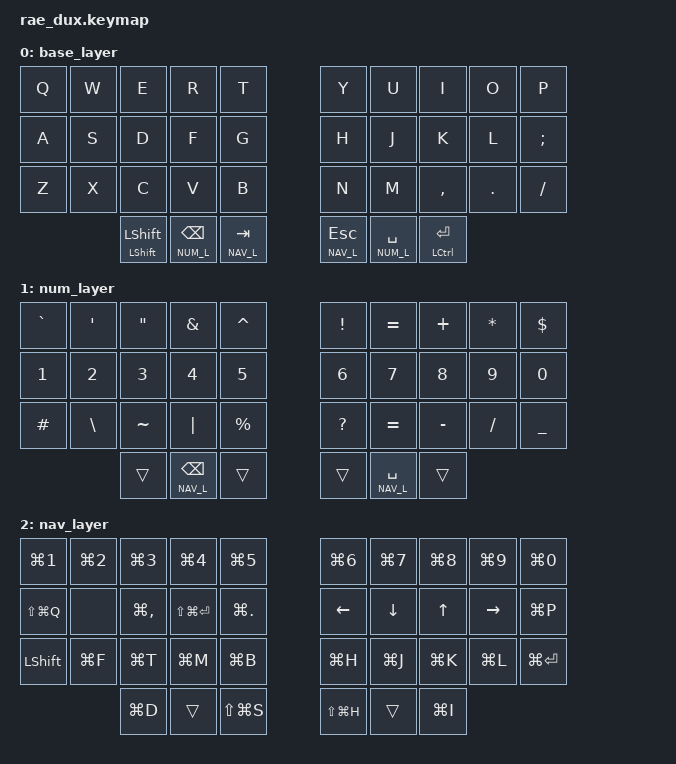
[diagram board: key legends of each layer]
/*
 * Copyright (c) 2021 The ZMK Contributors
 *
 * SPDX-License-Identifier: MIT
 */

#include <behaviors.dtsi>
#include <dt-bindings/zmk/bt.h>
#include <dt-bindings/zmk/keys.h>

&sk {
    quick-release;
};

&caps_word {
    continue-list = <UNDERSCORE MINUS BSPC>;
};

#define BASE_L  0
#define NUM_L   1
#define NAV_L   2

/ {
    combos {
        compatible = "zmk,combos";

        #define COMBO(NAME, BINDINGS, KEYPOS, TIMEOUT) \
              combo_##NAME { \
                timeout-ms = <TIMEOUT>; \
                bindings = <BINDINGS>; \
                key-positions = <KEYPOS>; \
              };

        /*                KEY POSITIONS

          ╭────────────────────╮ ╭────────────────────╮
          │  0   1   2   3   4 │ │  5   6   7   8   9 │
          │ 10  11  12  13  14 │ │ 15  16  17  18  19 │
          │ 20  21  22  23  24 │ │ 25  26  27  28  29 │
          ╰───────╮ 30  31  32 │ │ 33  34  35 ╭───────╯
                  ╰────────────╯ ╰────────────╯        */

        COMBO(caps_word_left, &caps_word, 13 14, 40)
        COMBO(caps_word_right, &caps_word, 15 16, 40)

		COMBO(escape_left, &kp ESC, 12 13, 40)
		COMBO(escape_right, &kp ESC, 16 17, 40)

		COMBO(round_bracket_open, &kp LPAR, 2 3, 40)
		COMBO(round_bracket_close, &kp RPAR, 6 7, 40)

		COMBO(curly_bracket_open, &kp LBRC, 3 4, 40)
		COMBO(curly_bracket_close, &kp RBRC, 5 6, 40)

		COMBO(square_bracket_open, &kp LBKT, 22 23, 40)
		COMBO(square_bracket_close, &kp RBKT, 26 27, 40)

		COMBO(angle_bracket_open, &kp LT, 23 24, 40)
		COMBO(angle_bracket_close, &kp GT, 25 26, 40)
		
		COMBO(at, &kp AT, 0 1, 40)
    };

    behaviors {
        lhm: left_hand_positional_hold_tap {
            compatible = "zmk,behavior-hold-tap";
            label = "LEFT_POSITIONAL_HOLD_TAP";
            #binding-cells = <2>;
            flavor = "tap-preferred";
            tapping-term-ms = <200>;
            quick-tap-ms = <200>;
            bindings = <&kp>, <&kp>;
            // hold-trigger-key-positions = <5 6 7 8 9 15 16 17 18 19 25 26 27 28 29 30 31 32 33 34 35>;
            hold-trigger-key-positions = <5 6 7 8 9 10 11 12 13 15 16 17 18 19 25 26 27 28 29 30 31 32 33 34 35>;
        };

        rhm: right_hand_positional_hold_tap {
            compatible = "zmk,behavior-hold-tap";
            label = "RIGHT_POSITIONAL_HOLD_TAP";
            #binding-cells = <2>;
            flavor = "tap-preferred";
            tapping-term-ms = <200>;
            quick-tap-ms = <200>;
            bindings = <&kp>, <&kp>;
            // hold-trigger-key-positions = <0 1 2 3 4 10 11 12 13 14 20 21 22 23 24 30 31 32 33 34 35>;
            hold-trigger-key-positions = <0 1 2 3 4 10 11 12 13 14 16 17 18 19 20 21 22 23 24 30 31 32 33 34 35>;
        };

        ms: mod_sticky {
            compatible = "zmk,behavior-hold-tap";
            #binding-cells = <2>;
            flavor = "hold-preferred";
            tapping-term-ms = <200>;
            bindings = <&kp>, <&sk>;
            display-name = "Mod-Sticky";
        };

        base_lt: base_layer_hold_tap {
            compatible = "zmk,behavior-hold-tap";
            label = "BASE_LAYER_HOLD_TAP";
            #binding-cells = <2>;
            flavor = "tap-preferred";
            tapping-term-ms = <200>;
            quick-tap-ms = <200>;
            bindings = <&mo>, <&kp>;
        };
    };

	keymap {
		compatible = "zmk,keymap";

		base_layer {
			bindings = <
				&kp Q         &kp W         &kp E         &kp R         &kp T               &kp Y         &kp U         &kp I         &kp O         &kp P
				&kp A         &kp S         &kp D         &kp F         &kp G               &kp H         &kp J         &kp K         &kp L         &kp SEMICOLON
				&kp Z         &kp X         &kp C         &kp V         &kp B               &kp N         &kp M         &kp COMMA     &kp DOT       &kp FSLH
				/*&          &*/            &ms LSHFT LSHFT &lt NUM_L BSPC &lt NAV_L TAB    &lt NAV_L ESC &lt NUM_L SPC &mt LCTL RET   /*&             &*/
			>;
		};

		num_layer {
			bindings = <
				&kp GRAVE     &kp APOS      &kp DQT       &kp AMPS      &kp CARET           &kp EXCL      &kp EQUAL     &kp PLUS      &kp STAR      &kp DLLR
				&kp N1        &kp N2        &kp N3        &kp N4        &kp N5              &kp N6        &kp N7        &kp N8        &kp N9        &kp N0
				&kp HASH      &kp BSLH      &kp TILDE     &kp PIPE      &kp PRCNT           &kp QMARK     &kp EQUAL     &kp MINUS     &kp FSLH      &kp UNDER
				/*&           &*/           &trans        &lt NAV_L BSPC &trans             &trans        &lt NAV_L SPC &trans         /*&             &*/
			>;
		};

		nav_layer {
			bindings = <
				&kp LG(N1)    &kp LG(N2)    &kp LG(N3)    &kp LG(N4)    &kp LG(N5)          &kp LG(N6)    &kp LG(N7)    &kp LG(N8)    &kp LG(N9)    &kp LG(N0)
				&kp LS(LG(Q)) &none         &kp LG(COMMA) &kp LS(LG(RET)) &kp LG(DOT)       &kp LEFT      &kp DOWN      &kp UP        &kp RIGHT     &kp LG(P)
				&kp LSHIFT    &kp LG(F)     &kp LG(T)     &kp LG(M)     &kp LG(B)           &kp LG(H)     &kp LG(J)     &kp LG(K)     &kp LG(L)     &kp LG(RET)
				/*&           &*/           &kp LG(D)     &trans        &kp LS(LG(S))       &kp LS(LG(H)) &trans        &kp LG(I)      /*&             &*/
			>;
		};
	};
};
